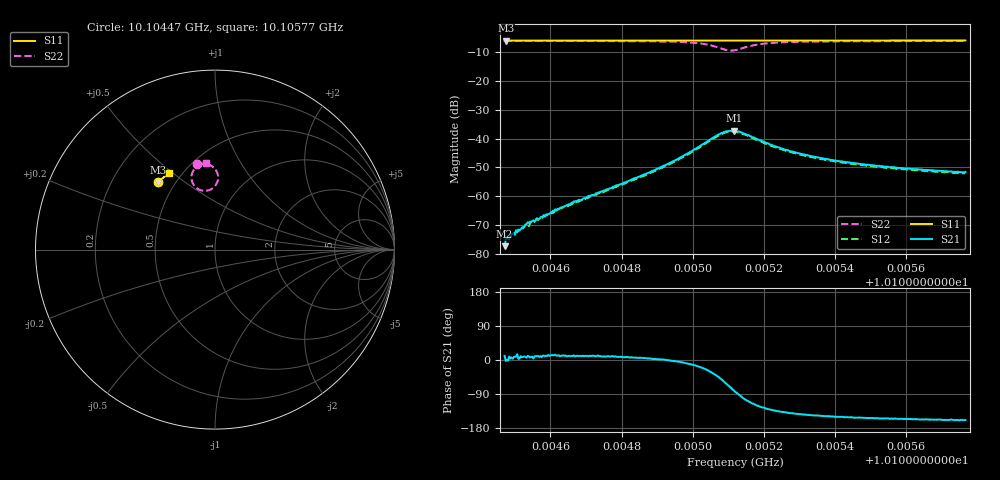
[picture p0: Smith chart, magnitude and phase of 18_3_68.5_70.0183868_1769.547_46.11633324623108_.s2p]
#  HZ  S  RI  R  50.00
! Rohde & Schwarz Vector Network Analyzer
! Rohde-Schwarz,ZNB20-2Port,1311601062101988,3.16
! Created: UTC 3/20/2024, 4:49:19 PM
! freq[Hz]  re:S11  im:S11  re:S21  im:S21  re:S12  im:S12  re:S22  im:S22
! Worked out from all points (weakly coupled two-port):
!   401 points, 10.10447 GHz to 10.10577 GHz, reference 50 ohm
!   highest |S21| = -37.29 dB at 10.10512 GHz (marker M1); lowest = -77.2 dB at 10.10447 GHz (marker M2)
!   lowest |S11| = -6.2 dB at 10.10447 GHz (marker M3), VSWR 2.94, Z = 20.2 + j20 ohm
!   |S11| at or under -10 dB: nowhere
!   |S22| runs from -9.6 to -6.3 dB; largest |S21 - S12| = 0.0015
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1.0104471e10  -0.318 0.3763  0.000135 2.6e-05  0.000172 1.12e-05  -0.0999 0.4747
1.0104474e10  -0.3178 0.3763  0.000178 -7.49e-06  0.000179 1.76e-05  -0.0997 0.4746
1.0104484e10  -0.3175 0.377  0.000176 2.89e-05  0.000182 2.16e-05  -0.0988 0.4749
1.0104539e10  -0.3149 0.379  0.000344 5.78e-05  0.0003 6.44e-05  -0.0937 0.476
1.0104562e10  -0.3138 0.38  0.000412 7.17e-05  0.000403 9.83e-05  -0.0917 0.4765
1.0104607e10  -0.3117 0.3819  0.000549 0.000123  0.000493 0.000148  -0.0872 0.477
1.010463e10  -0.3108 0.3828  0.000627 0.000121  0.000596 0.000162  -0.0847 0.4774
1.0104665e10  -0.309 0.3842  0.000796 0.000172  0.000712 0.000196  -0.0809 0.4777
1.0104688e10  -0.308 0.3852  0.000862 0.00015  0.00083 0.000225  -0.0781 0.4782
1.0104905e10  -0.2978 0.3936  0.00308 9.76e-05  0.00293 0.000373  -0.0402 0.4756
1.0105003e10  -0.293 0.3973  0.00616 -0.00143  0.006 -0.000815  -0.00266 0.453
1.0105058e10  -0.29 0.3991  0.00845 -0.00595  0.00864 -0.00487  0.0173 0.3983
1.010509e10  -0.2885 0.4  0.00678 -0.0112  0.00758 -0.00991  -0.0093 0.3445
1.0105116e10  -0.2877 0.4007  0.0023 -0.0135  0.00339 -0.0127  -0.0647 0.3277
1.0105119e10  -0.2874 0.4008  0.00152 -0.0134  0.00265 -0.0128  -0.0719 0.3288
1.0105155e10  -0.2862 0.4023  -0.0035 -0.0109  -0.00244 -0.0109  -0.1233 0.368
1.01052e10  -0.2842 0.4042  -0.00507 -0.00712  -0.0044 -0.00715  -0.1299 0.4165
1.0105262e10  -0.2813 0.4066  -0.00477 -0.00425  -0.00425 -0.00445  -0.1158 0.4477
1.0105336e10  -0.2776 0.4095  -0.00408 -0.00276  -0.00365 -0.00299  -0.0995 0.4633
1.0105411e10  -0.274 0.4123  -0.00353 -0.00205  -0.00322 -0.00226  -0.0873 0.471
1.0105554e10  -0.2669 0.4172  -0.0029 -0.00136  -0.00265 -0.00156  -0.0697 0.4782
1.0105768e10  -0.2561 0.4246  -0.00245 -0.000969  -0.00226 -0.00109  -0.0496 0.4833
